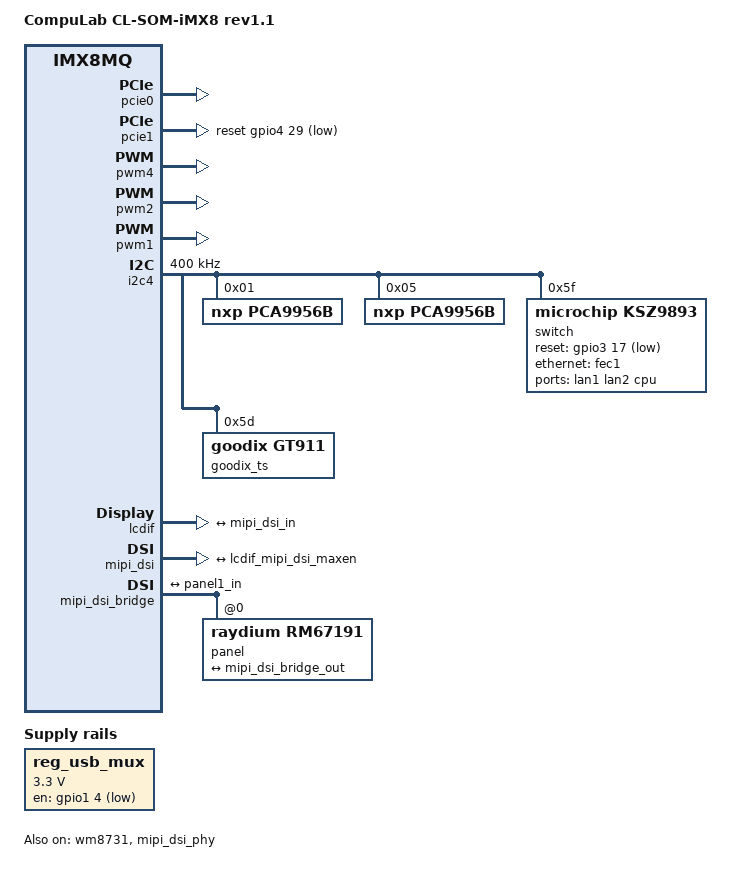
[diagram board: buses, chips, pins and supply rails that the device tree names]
/*
 * Copyright (C) 2017 CopuLab Ltd.
 *
 * This program is free software; you can redistribute it and/or
 * modify it under the terms of the GNU General Public License
 * as published by the Free Software Foundation; either version 2
 * of the License, or (at your option) any later version.
 *
 * This program is distributed in the hope that it will be useful,
 * but WITHOUT ANY WARRANTY; without even the implied warranty of
 * MERCHANTABILITY or FITNESS FOR A PARTICULAR PURPOSE.  See the
 * GNU General Public License for more details.
 */

/dts-v1/;

#include "compulab-imx8mq.dtsi"

/ {
	model = "CompuLab CL-SOM-iMX8 rev1.1";
	compatible = "compulab,cl-som-imx8,rev1.1", "compulab,cl-som-imx8", "fsl,imx8mq";

	bcmdhd_wlan_0: bcmdhd_wlan@0 {
		compatible = "android,bcmdhd_wlan";
		bcmdhd_fw = "/lib/firmware/bcm/1CX_BCM4356/fw_bcmdhd.bin";
		bcmdhd_nv = "/lib/firmware/bcm/1CX_BCM4356/bcmdhd.cal";
	};

	regulators {
		reg_usb_mux: usb_mux {
			compatible = "regulator-fixed";
			pinctrl-names = "default";
			pinctrl-0 = <&pinctrl_usbimux1>;
			regulator-name = "usb_mux";
			regulator-min-microvolt = <3300000>;
			regulator-max-microvolt = <3300000>;
			gpio = <&gpio1 4 GPIO_ACTIVE_HIGH>;
			regulator-always-on;
		};
	};
};

&iomuxc {
	cl-som-imx8 {
		pinctrl_usbimux1: usbmux1grp {
			fsl,pins = <
				MX8MQ_IOMUXC_GPIO1_IO04_GPIO1_IO4	0x16
			>;
		};
		pinctrl_pcie1: pcie1grp {
			fsl,pins = <
				MX8MQ_IOMUXC_SAI3_RXC_GPIO4_IO29 	0x16 /* WIFI reset-gpio   */
				MX8MQ_IOMUXC_GPIO1_IO01_GPIO1_IO1	0x16 /* WIFI disable-gpio */

				MX8MQ_IOMUXC_GPIO1_IO03_GPIO1_IO3	0x16 /* WIFI pewake */
				MX8MQ_IOMUXC_GPIO1_IO00_ANAMIX_REF_CLK_32K 0x16
			>;
		};
		pinctrl_i2c4_gt911: i2c4-gt911grp {
			fsl,pins = <
				#define GPIRQ_GT911		<&gpio4 26 IRQ_TYPE_LEVEL_HIGH>
				#define GP_GT911_IRQ		<&gpio4 26 GPIO_ACTIVE_HIGH>
				#define GP_GT911_RESET          <&gpio4 24 GPIO_ACTIVE_LOW>
				MX8MQ_IOMUXC_SAI2_TXD0_GPIO4_IO26	0x1D6
				MX8MQ_IOMUXC_SAI2_TXFS_GPIO4_IO24	0x176
			>;
		};
	};
};

&pcie0 {
	status = "okay";
};

&pcie1 {
	pinctrl-names = "default";
	pinctrl-0 = <&pinctrl_pcie1>;
	reset-gpio = <&gpio4 29 GPIO_ACTIVE_LOW>;
	disable-gpio = <&gpio1 1 GPIO_ACTIVE_LOW>;
	ext_osc = <0>;
	hard-wired = <1>;
	status = "okay";
};

&wm8731 {
    status = "okay";
};

&pwm4 {
    pinctrl-names = "default";
    pinctrl-0 = <&pinctrl_pwm4>;
    status = "okay";
};

&pwm3 {
    pinctrl-names = "default";
    pinctrl-0 = <&pinctrl_pwm3>;
    status = "disabled";
};

&pwm2 {
    pinctrl-names = "default";
    pinctrl-0 = <&pinctrl_pwm2>;
    status = "okay";
};

&pwm1 {
    pinctrl-names = "default";
    pinctrl-0 = <&pinctrl_pwm1>;
    status = "okay";
};

&i2c4 {
    clock-frequency = <400000>;
    pinctrl-names = "default";
    pinctrl-0 = <&pinctrl_i2c4>;
    status = "okay";

    pca9956b@0x1 {
	#address-cells = <1>;
	#size-cells = <0>;
	reg = <0x01>;

	compatible    = "nxp,pca9956b";

	pca9956b,support_initialize = <1>;
	pca9956b,mode1 = <0x09>;
	pca9956b,mode2 = <0x05>;

	pca9956b,defaultiref = <0x2f>;

	out0@0 {
	    label = "led1_r";
	    reg = <0x0>;
	};

	out1@1 {
	    label = "led1_g";
	    reg = <0x1>;
	};

	out2@2 {
	    label = "led1_b";
	    reg = <0x2>;
	};

	out3@3 {
	    label = "led2_r";
	    reg = <0x3>;
	};

	out4@4 {
	    label = "led2_g";
	    reg = <0x4>;
	};

	out5@5 {
	    label = "led2_b";
	    reg = <0x5>;
	};

	out6@6 {
	    label = "led3_r";
	    reg = <0x6>;
	};

	out7@7 {
	    label = "led3_g";
	    reg = <0x7>;
	};

	out8@8 {
	    label = "led3_b";
	    reg = <0x8>;
	};

	out9@9 {
	    label = "led4_r";
	    reg = <0x9>;
	};

	outa@a {
	    label = "led4_g";
	    reg = <0xa>;
	};

	outb@b {
	    label = "led4_b";
	    reg = <0xb>;
	};

	outc@c {
	    label = "led5_r";
	    reg = <0xc>;
	};

	outd@d {
	    label = "led5_g";
	    reg = <0xd>;
	};

	oute@e {
	    label = "led5_b";
	    reg = <0xe>;
	};

	outf@f {
	    label = "led6_r";
	    reg = <0xf>;
	};

	out10@10 {
	    label = "led6_g";
	    reg = <0x10>;
	};

	out11@11 {
	    label = "led6_b";
	    reg = <0x11>;
	};

	out12@12 {
	    label = "led7_r";
	    reg = <0x12>;
	};

	out13@13 {
	    label = "led7_g";
	    reg = <0x13>;
	};

	out14@14 {
	    label = "led7_b";
	    reg = <0x14>;
	};

	out15@15 {
	    label = "led8_r";
	    reg = <0x15>;
	};

	out16@16 {
	    label = "led8_g";
	    reg = <0x16>;
	};

	out17@17 {
	    label = "led8_b";
	    reg = <0x17>;
	};
    };

    pca9956b@0x5 {
	#address-cells = <1>;
	#size-cells = <0>;
	reg = <0x05>;

	compatible    = "nxp,pca9956b";

	pca9956b,support_initialize = <1>;
	pca9956b,mode1 = <0x09>;
	pca9956b,mode2 = <0x05>;

	pca9956b,defaultiref = <0x2f>;

	out0@0 {
	    label = "led9_r";
	    reg = <0x0>;
	};

	out1@1 {
	    label = "led9_g";
	    reg = <0x1>;
	};

	out2@2 {
	    label = "led9_b";
	    reg = <0x2>;
	};

	out3@3 {
	    label = "led10_r";
	    reg = <0x3>;
	};

	out4@4 {
	    label = "led10_g";
	    reg = <0x4>;
	};

	out5@5 {
	    label = "led10_b";
	    reg = <0x5>;
	};

	out6@6 {
	    label = "led11_r";
	    reg = <0x6>;
	};

	out7@7 {
	    label = "led11_g";
	    reg = <0x7>;
	};

	out8@8 {
	    label = "led11_b";
	    reg = <0x8>;
	};

	out9@9 {
	    label = "led12_r";
	    reg = <0x9>;
	};

	outa@a {
	    label = "led12_g";
	    reg = <0xa>;
	};

	outb@b {
	    label = "led12_b";
	    reg = <0xb>;
	};

	outc@c {
	    label = "led13_r";
	    reg = <0xc>;
	};

	outd@d {
	    label = "led13_g";
	    reg = <0xd>;
	};

	oute@e {
	    label = "led13_b";
	    reg = <0xe>;
	};

	outf@f {
	    label = "led14_r";
	    reg = <0xf>;
	};

	out10@10 {
	    label = "led14_g";
	    reg = <0x10>;
	};

	out11@11 {
	    label = "led14_b";
	    reg = <0x11>;
	};

	out12@12 {
	    label = "led15_r";
	    reg = <0x12>;
	};

	out13@13 {
	    label = "led15_g";
	    reg = <0x13>;
	};

	out14@14 {
	    label = "led15_b";
	    reg = <0x14>;
	};

	out15@15 {
	    label = "led16_r";
	    reg = <0x15>;
	};

	out16@16 {
	    label = "led16_g";
	    reg = <0x16>;
	};

	out17@17 {
	    label = "led16_b";
	    reg = <0x17>;
	};
    };

    switch@5f {
                  #address-cells = <1>;
                  #size-cells = <0>;
                  compatible = "microchip,ksz9893"; /* ksz9893 */
		          reset-gpios = <&gpio3 17 GPIO_ACTIVE_LOW>;
                  reg = <0x5f>;

                  status = "okay";

                  ports {
                             #address-cells = <1>;
                             #size-cells = <0>;

                             port@0 {
                                          reg = <0>;
                                          label = "lan1";
                             };

                             port@1 {
                                          reg = <1>;
                                          label = "lan2";
                             };

			                 port2switch: port@2 {
                                          reg = <2>;
                                          label = "cpu";
                                          ethernet = <&fec1>;
                                          fixed-link {
                                                      speed = <1000>;
                                                      full-duplex;
                                          };
                            };
                   };
         };


	goodix_ts@5d {
		compatible = "goodix,gt911";
		reg = <0x5d>;

		pinctrl-names = "default";
		pinctrl-0 = <&pinctrl_i2c4_gt911>;
		touchscreen-inverted-x = "true";
		touchscreen-inverted-y = "true";

		esd-recovery-timeout-ms = <2000>;
		interrupts-extended = GPIRQ_GT911;
		irq-gpios = GP_GT911_IRQ;
		reset-gpios = GP_GT911_RESET;
		status = "okay";
	};

};

&irqsteer_dcss {
    status = "disabled";
};

&dcss {
    status = "disabled";
};

&hdmi {
    status = "disabled";
};

&lcdif {
    status = "okay";
    /*max-res = <1080>, <1920>;*/

    port@0 {
	lcdif_mipi_dsi_maxen: endpoint {
	    remote-endpoint = <&mipi_dsi_in>;
	};
    };
};

&mipi_dsi_phy {
    status = "okay";
};

&mipi_dsi {
    status = "okay";
    as_bridge;
    sync-pol = <1>;
    pwr-delay = <10>;
    port@1 {
	mipi_dsi_in: endpoint {
	    remote-endpoint = <&lcdif_mipi_dsi_maxen>;
	};
    };
};

&mipi_dsi_bridge {
    status = "okay";

    panel@0 {
	compatible = "raydium,rm67191";
	reg = <0>;
/*  	pinctrl-0 = <&pinctrl_mipi_dsi_en>;
	reset-gpio = <&gpio5 6 GPIO_ACTIVE_HIGH>;*/
	dsi-lanes = <4>;
	panel-width-mm = <154>;
	panel-height-mm = <88>;
	display-timings {
		native-mode = <&timing0>;
		timing0: timing0 {
			clock-frequency = <52000000>;
			hactive = <1024>;
			vactive = <600>;
			hfront-porch = <170>;
			hback-porch = <150>;
			hsync-len = <1>;
			vback-porch = <23>;
			vfront-porch = <12>;
			vsync-len = <1>;
			hsync-active = <0>;
			vsync-active = <0>;
			de-active = <0>;
			pixelclk-active = <0>;
		};
	};
	port {
		panel1_in: endpoint {
			remote-endpoint = <&mipi_dsi_bridge_out>;
		};
	};
};

    port@1 {
	mipi_dsi_bridge_out: endpoint {
	    remote-endpoint = <&panel1_in>;
	};
    };
};
